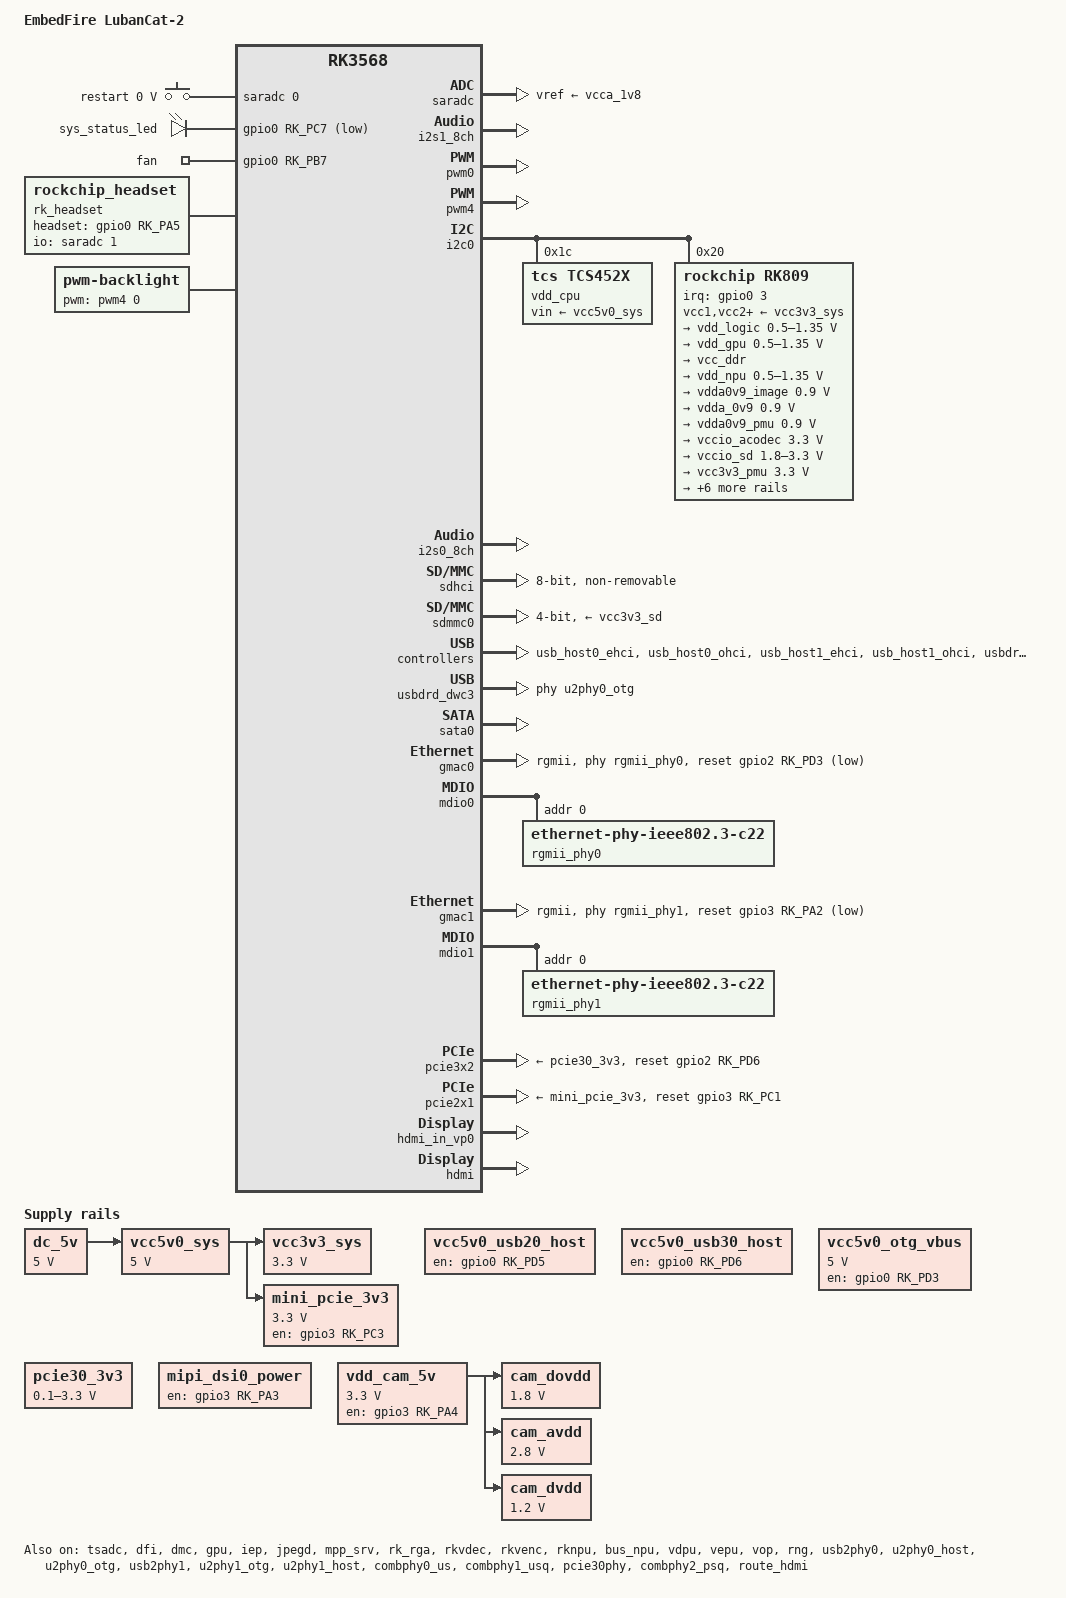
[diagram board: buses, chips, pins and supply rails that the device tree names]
// SPDX-License-Identifier: (GPL-2.0+ OR MIT)
/*
 * Copyright (c) 2020 Rockchip Electronics Co., Ltd.
 *
 */

 /dts-v1/;

#include <dt-bindings/gpio/gpio.h>
#include <dt-bindings/pwm/pwm.h>
#include <dt-bindings/pinctrl/rockchip.h>
#include <dt-bindings/input/rk-input.h>
#include <dt-bindings/display/drm_mipi_dsi.h>
#include <dt-bindings/display/rockchip_vop.h>
#include <dt-bindings/sensor-dev.h>
#include "rk3568.dtsi"

// MIPI屏幕设置，通用镜像使用设备树插件
//专用镜像如果要开启MIPI屏幕支持，按屏幕型号开启1-3
//以下3个配置互斥，不可同时开启
// #include "rk3568-lubancat-dsi0-ebf410125_720p.dtsi" //野火5.5寸 720P
// #include "rk3568-lubancat-dsi0-ebf410125_1080p.dtsi" //野火5.5寸 1080P
// #include "rk3568-lubancat-dsi0-rpi.dtsi" //树莓派 5寸 800x480


/ {
	model = "EmbedFire LubanCat-2";
	compatible = "embedfire,lubancat-2", "rockchip,rk3568";

	chosen: chosen {
		bootargs = "earlycon=uart8250,mmio32,0xfe660000 console=ttyFIQ0 root=PARTUUID=614e0000-0000 rw rootwait";
	};

	fiq-debugger {
		compatible = "rockchip,fiq-debugger";
		rockchip,serial-id = <2>;
		rockchip,wake-irq = <0>;
		/* If enable uart uses irq instead of fiq */
		rockchip,irq-mode-enable = <1>;
		rockchip,baudrate = <1500000>;  /* Only 115200 and 1500000 */
		interrupts = <GIC_SPI 252 IRQ_TYPE_LEVEL_LOW>;
		pinctrl-names = "default";
		pinctrl-0 = <&uart2m0_xfer>;
		status = "okay";
	};

	debug: debug@fd904000 {
		compatible = "rockchip,debug";
		reg = <0x0 0xfd904000 0x0 0x1000>,
			<0x0 0xfd905000 0x0 0x1000>,
			<0x0 0xfd906000 0x0 0x1000>,
			<0x0 0xfd907000 0x0 0x1000>;
	};

	cspmu: cspmu@fd90c000 {
		compatible = "rockchip,cspmu";
		reg = <0x0 0xfd90c000 0x0 0x1000>,
			<0x0 0xfd90d000 0x0 0x1000>,
			<0x0 0xfd90e000 0x0 0x1000>,
			<0x0 0xfd90f000 0x0 0x1000>;
	};

	reserved-memory {
		#address-cells = <2>;
		#size-cells = <2>;
		ranges;
		ramoops: ramoops@110000 {
			compatible = "ramoops";
			reg = <0x0 0x110000 0x0 0xf0000>;
			record-size = <0x20000>;
			console-size = <0x80000>;
			ftrace-size = <0x00000>;
			pmsg-size = <0x50000>;
		};

		abc: abc@80900000{
			reg = <0x0 0x80900000 0x0 0x100000>;
		};
	};

	adc_keys: adc-keys {
		compatible = "adc-keys";
		io-channels = <&saradc 0>;
		io-channel-names = "buttons";
		keyup-threshold-microvolt = <1800000>;
		poll-interval = <100>;

		restart-key {
			label = "restart";
			linux,code = <KEY_RESTART>;
			press-threshold-microvolt = <9>;
		};
	};

	dc_5v: dc-5v {
		compatible = "regulator-fixed";
		regulator-name = "dc_5v";
		regulator-always-on;
		regulator-boot-on;
		regulator-min-microvolt = <5000000>;
		regulator-max-microvolt = <5000000>;
	};

	vcc5v0_sys: vcc5v0-sys {
		compatible = "regulator-fixed";
		regulator-name = "vcc5v0_sys";
		regulator-always-on;
		regulator-boot-on;
		regulator-min-microvolt = <5000000>;
		regulator-max-microvolt = <5000000>;
		vin-supply = <&dc_5v>;
	};

	vcc3v3_sys: vcc3v3-sys {
		compatible = "regulator-fixed";
		regulator-name = "vcc3v3_sys";
		regulator-always-on;
		regulator-boot-on;
		regulator-min-microvolt = <3300000>;
		regulator-max-microvolt = <3300000>;
		vin-supply = <&vcc5v0_sys>;
	};

	vcc5v0_usb20_host: vcc5v0-usb20-host-regulator {
		compatible = "regulator-fixed";
		enable-active-high;
		gpio = <&gpio0 RK_PD5 GPIO_ACTIVE_HIGH>;
		pinctrl-names = "default";
		pinctrl-0 = <&vcc5v0_usb20_host_en>;
		regulator-name = "vcc5v0_usb20_host";
		regulator-always-on;
	};

	vcc5v0_usb30_host: vcc5v0-usb30-host-regulator {
		compatible = "regulator-fixed";
		enable-active-high;
		gpio = <&gpio0 RK_PD6 GPIO_ACTIVE_HIGH>;
		pinctrl-names = "default";
		pinctrl-0 = <&vcc5v0_usb30_host_en>;
		regulator-name = "vcc5v0_usb30_host";
		regulator-always-on;
	};

	vcc5v0_otg_vbus: vcc5v0-otg-vbus-regulator {
		compatible = "regulator-fixed";
		enable-active-high;
		regulator-min-microvolt = <5000000>;
		regulator-max-microvolt = <5000000>;
		gpio = <&gpio0 RK_PD3 GPIO_ACTIVE_HIGH>;
		pinctrl-names = "default";
		pinctrl-0 = <&vcc5v0_otg_vbus_en>;
		regulator-name = "vcc5v0_otg_vbus";
	};

	mini_pcie_3v3: mini-pcie-3v3-regulator {
		compatible = "regulator-fixed";
		regulator-name = "minipcie_3v3";
		regulator-min-microvolt = <3300000>;
		regulator-max-microvolt = <3300000>;
		enable-active-high;
		regulator-always-on;
		gpio = <&gpio3 RK_PC3 GPIO_ACTIVE_HIGH>;
		startup-delay-us = <5000>;
		vin-supply = <&vcc5v0_sys>;
	};

	pcie30_3v3: gpio-regulator {
		compatible = "regulator-gpio";
		regulator-name = "pcie30_3v3";
		regulator-min-microvolt = <100000>;
		regulator-max-microvolt = <3300000>;
		gpios = <&gpio0 RK_PD4 GPIO_ACTIVE_HIGH>;
		gpios-states = <0x1>;
		states = <100000 0x0
			  3300000 0x1>;
	};

	mipi_dsi0_power: mipi-dsi0-power-regulator {
		compatible = "regulator-fixed";
		enable-active-high;
		gpio = <&gpio3 RK_PA3 GPIO_ACTIVE_HIGH>;
		pinctrl-names = "default";
		pinctrl-0 = <&mipi_dsi0_pwr_en>;
		regulator-name = "mipi_dsi0_power";
		regulator-always-on;
	};

	vdd_cam_5v: vdd-cam-5v-regulator {
		compatible = "regulator-fixed";
		regulator-name = "vdd_cam_5v";
		regulator-min-microvolt = <3300000>;
		regulator-max-microvolt = <3300000>;
		gpio = <&gpio3 RK_PA4 GPIO_ACTIVE_HIGH>;
		pinctrl-names = "default";
		pinctrl-0 = <&cam_pwr_en>;
		enable-active-high;
		regulator-always-on;
	};

	cam_dovdd: cam-dovdd {
		compatible = "regulator-fixed";
		regulator-name = "cam_dovdd";
		regulator-always-on;
		regulator-boot-on;
		regulator-min-microvolt = <1800000>;
		regulator-max-microvolt = <1800000>;
		vin-supply = <&vdd_cam_5v>;
	};

	cam_avdd: cam-avdd {
		compatible = "regulator-fixed";
		regulator-name = "cam_avdd";
		regulator-always-on;
		regulator-boot-on;
		regulator-min-microvolt = <2800000>;
		regulator-max-microvolt = <2800000>;
		vin-supply = <&vdd_cam_5v>;
	};

	cam_dvdd: cam-dvdd {
		compatible = "regulator-fixed";
		regulator-name = "cam_dvdd";
		regulator-always-on;
		regulator-boot-on;
		regulator-min-microvolt = <1200000>;
		regulator-max-microvolt = <1200000>;
		vin-supply = <&vdd_cam_5v>;
	};

	leds: leds {
		status = "okay";
		compatible = "gpio-leds";

		sys_status_led: sys-status-led {
			label = "sys_status_led";
			linux,default-trigger = "heartbeat";
			default-state = "on";
			gpios = <&gpio0 RK_PC7 GPIO_ACTIVE_LOW>;
			pinctrl-names = "default";
			pinctrl-0 = <&sys_status_led_pin>;
		};

		fan: fan {
			label = "fan";
			default-state = "on";
			linux,default-trigger = "none";
			gpios = <&gpio0 RK_PB7 GPIO_ACTIVE_HIGH>;
			pinctrl-names = "default";
			pinctrl-0 = <&fan_pin>;
		};
		
	};

	rk809_sound: rk809-sound {
		status = "okay";
		compatible = "simple-audio-card";
		simple-audio-card,format = "i2s";
		simple-audio-card,name = "rockchip,rk809-codec";
		simple-audio-card,mclk-fs = <256>;
		simple-audio-card,widgets =
			"Microphone", "Mic Jack",
			"Headphone", "Headphone Jack";
		simple-audio-card,routing =
			"Mic Jack", "MICBIAS1",
			"IN1P", "Mic Jack",
			"Headphone Jack", "HPOL",
			"Headphone Jack", "HPOR";
		simple-audio-card,cpu {
			sound-dai = <&i2s1_8ch>;
		};
		simple-audio-card,codec {
			sound-dai = <&rk809_codec>;
		};
	};

	rk_headset: rk-headset {
		status = "okay";
		compatible = "rockchip_headset";
		headset_gpio = <&gpio0 RK_PA5 GPIO_ACTIVE_HIGH>;
		pinctrl-names = "default";
		pinctrl-0 = <&hp_det>;
		io-channels = <&saradc 1>;
	};

	backlight: backlight {
		status = "okay";
		compatible = "pwm-backlight";
		pwms = <&pwm4 0 50000 0>;
		brightness-levels = <
			 95  95  95  95  95  95  95  95
			 95  95  95  95  95  95  95  95
			 95  95  95  95  95  95  95  95
			 95  95  95  95  95  95  95  95
			 95  95  95  95  95  95  95  95
			 95  95  95  95  95  95  95  95
			 95  95  95  95  95  95  95  95
			 95  95  95  95  95  95  95  95
			 95  95  95  95  95  95  95  95
			 95  95  95  95  95  95  95  95
			 95  95  95  95  95  95  95  95
			 88  89  90  91  92  93  94  95
			 96  97  98  99 100 101 102 103
			104 105 106 107 108 109 110 111
			112 113 114 115 116 117 118 119
			120 121 122 123 124 125 126 127
			128 129 130 131 132 133 134 135
			136 137 138 139 140 141 142 143
			144 145 146 147 148 149 150 151
			152 153 154 155 156 157 158 159
			160 161 162 163 164 165 166 167
			168 169 170 171 172 173 174 175
			176 177 178 179 180 181 182 183
			184 185 186 187 188 189 190 191
			192 193 194 195 196 197 198 199
			200 201 202 203 204 205 206 207
			208 209 210 211 212 213 214 215
			216 217 218 219 220 221 222 223
			224 225 226 227 228 229 230 231
			232 233 234 235 236 237 238 239
			240 241 242 243 244 245 246 247
			248 249 250 251 252 253 254 255
		>;
		default-brightness-level = <200>;
	};

	test-power {
		status = "okay";
	};

	hdmi_sound: hdmi-sound {
		compatible = "simple-audio-card";
		simple-audio-card,format = "i2s";
		simple-audio-card,mclk-fs = <128>;
		simple-audio-card,name = "rockchip,hdmi";
		status = "okay";

		simple-audio-card,cpu {
			sound-dai = <&i2s0_8ch>;
		};
		simple-audio-card,codec {
			sound-dai = <&hdmi>;
		};
	};
};

&saradc {
	vref-supply = <&vcca_1v8>;
	status = "okay";
};

&tsadc {
	status = "okay";
};

&i2s1_8ch {
	status = "okay";
	rockchip,clk-trcm = <1>;
	/delete-property/ rockchip,playback-only;
	pinctrl-names = "default";
	pinctrl-0 = <&i2s1m0_sclktx
			 &i2s1m0_lrcktx
			 &i2s1m0_sdi0
			 &i2s1m0_sdo0>;
};

&pwm0 {
	status = "okay";
};

&pwm4 {
	status = "okay";
};

&cpu0 {
	cpu-supply = <&vdd_cpu>;
};

&dfi {
	status = "okay";
};

&dmc {
	center-supply = <&vdd_logic>;
	status = "okay";
};

&gpu {
	mali-supply = <&vdd_gpu>;
	status = "okay";
};

&xin32k {
	status = "disabled";
};

&i2c0 {
	status = "okay";

	vdd_cpu: tcs4525@1c {
		compatible = "tcs,tcs452x";
		reg = <0x1c>;
		vin-supply = <&vcc5v0_sys>;
		regulator-compatible = "fan53555-reg";
		regulator-name = "vdd_cpu";
		regulator-min-microvolt = <712500>;
		regulator-max-microvolt = <1390000>;
		regulator-ramp-delay = <2300>;
		fcs,suspend-voltage-selector = <1>;
		regulator-boot-on;
		regulator-always-on;
		regulator-state-mem {
			regulator-off-in-suspend;
		};
	};
/*
	vdd_cpu: syr827@40 {
		compatible = "silergy,syr827";
		reg = <0x40>;
		fcs,suspend-voltage-selector = <1>;
		regulator-name = "vdd_cpu";
		regulator-min-microvolt = <712500>;
		regulator-max-microvolt = <1390000>;
		regulator-ramp-delay = <2300>;
		regulator-always-on;
		regulator-boot-on;
		vin-supply = <&vcc5v0_sys>;

		regulator-state-mem {
			regulator-off-in-suspend;
		};
	};
*/
	rk809: pmic@20 {
		compatible = "rockchip,rk809";
		reg = <0x20>;
		interrupt-parent = <&gpio0>;
		interrupts = <3 IRQ_TYPE_LEVEL_LOW>;

		pinctrl-names = "default", "pmic-sleep",
				"pmic-power-off", "pmic-reset";
		pinctrl-0 = <&pmic_int>;
		pinctrl-1 = <&soc_slppin_slp>, <&rk817_slppin_slp>;
		pinctrl-2 = <&soc_slppin_gpio>, <&rk817_slppin_pwrdn>;
		pinctrl-3 = <&soc_slppin_gpio>, <&rk817_slppin_rst>;

		rockchip,system-power-controller;
		wakeup-source;
		#clock-cells = <1>;
		clock-output-names = "rk808-clkout1", "rk808-clkout2";
		//fb-inner-reg-idxs = <2>;
		/* 1: rst regs (default in codes), 0: rst the pmic */
		pmic-reset-func = <0>;
		/* not save the PMIC_POWER_EN register in uboot */
		not-save-power-en = <1>;

		vcc1-supply = <&vcc3v3_sys>;
		vcc2-supply = <&vcc3v3_sys>;
		vcc3-supply = <&vcc3v3_sys>;
		vcc4-supply = <&vcc3v3_sys>;
		vcc5-supply = <&vcc3v3_sys>;
		vcc6-supply = <&vcc3v3_sys>;
		vcc7-supply = <&vcc3v3_sys>;
		vcc8-supply = <&vcc3v3_sys>;
		vcc9-supply = <&vcc3v3_sys>;

		pwrkey {
			status = "okay";
		};

		pinctrl_rk8xx: pinctrl_rk8xx {
			gpio-controller;
			#gpio-cells = <2>;

			rk817_slppin_null: rk817_slppin_null {
				pins = "gpio_slp";
				function = "pin_fun0";
			};

			rk817_slppin_slp: rk817_slppin_slp {
				pins = "gpio_slp";
				function = "pin_fun1";
			};

			rk817_slppin_pwrdn: rk817_slppin_pwrdn {
				pins = "gpio_slp";
				function = "pin_fun2";
			};

			rk817_slppin_rst: rk817_slppin_rst {
				pins = "gpio_slp";
				function = "pin_fun3";
			};
		};

		regulators {
			vdd_logic: DCDC_REG1 {
				regulator-always-on;
				regulator-boot-on;
				regulator-min-microvolt = <500000>;
				regulator-max-microvolt = <1350000>;
				regulator-init-microvolt = <900000>;
				regulator-ramp-delay = <6001>;
				regulator-initial-mode = <0x2>;
				regulator-name = "vdd_logic";
				regulator-state-mem {
					regulator-on-in-suspend;
				};
			};

			vdd_gpu: DCDC_REG2 {
				regulator-always-on;
				regulator-boot-on;
				regulator-min-microvolt = <500000>;
				regulator-max-microvolt = <1350000>;
				regulator-init-microvolt = <900000>;
				regulator-ramp-delay = <6001>;
				regulator-initial-mode = <0x2>;
				regulator-name = "vdd_gpu";
				regulator-state-mem {
					regulator-off-in-suspend;
				};
			};

			vcc_ddr: DCDC_REG3 {
				regulator-always-on;
				regulator-boot-on;
				regulator-initial-mode = <0x2>;
				regulator-name = "vcc_ddr";
				regulator-state-mem {
					regulator-on-in-suspend;
				};
			};

			vdd_npu: DCDC_REG4 {
				regulator-always-on;
				regulator-boot-on;
				regulator-min-microvolt = <500000>;
				regulator-max-microvolt = <1350000>;
				regulator-init-microvolt = <900000>;
				regulator-ramp-delay = <6001>;
				regulator-initial-mode = <0x2>;
				regulator-name = "vdd_npu";
				regulator-state-mem {
					regulator-off-in-suspend;
				};
			};

			vdda0v9_image: LDO_REG1 {
				regulator-boot-on;
				regulator-always-on;
				regulator-min-microvolt = <900000>;
				regulator-max-microvolt = <900000>;
				regulator-name = "vdda0v9_image";
				regulator-state-mem {
					regulator-off-in-suspend;
				};
			};

			vdda_0v9: LDO_REG2 {
				regulator-always-on;
				regulator-boot-on;
				regulator-min-microvolt = <900000>;
				regulator-max-microvolt = <900000>;
				regulator-name = "vdda_0v9";
				regulator-state-mem {
					regulator-off-in-suspend;
				};
			};

			vdda0v9_pmu: LDO_REG3 {
				regulator-always-on;
				regulator-boot-on;
				regulator-min-microvolt = <900000>;
				regulator-max-microvolt = <900000>;
				regulator-name = "vdda0v9_pmu";
				regulator-state-mem {
					regulator-on-in-suspend;
					regulator-suspend-microvolt = <900000>;
				};
			};

			vccio_acodec: LDO_REG4 {
				regulator-always-on;
				regulator-boot-on;
				regulator-min-microvolt = <3300000>;
				regulator-max-microvolt = <3300000>;
				regulator-name = "vccio_acodec";
				regulator-state-mem {
					regulator-off-in-suspend;
				};
			};

			vccio_sd: LDO_REG5 {
				regulator-always-on;
				regulator-boot-on;
				regulator-min-microvolt = <1800000>;
				regulator-max-microvolt = <3300000>;
				regulator-name = "vccio_sd";
				regulator-state-mem {
					regulator-off-in-suspend;
				};
			};

			vcc3v3_pmu: LDO_REG6 {
				regulator-always-on;
				regulator-boot-on;
				regulator-min-microvolt = <3300000>;
				regulator-max-microvolt = <3300000>;
				regulator-name = "vcc3v3_pmu";
				regulator-state-mem {
					regulator-on-in-suspend;
					regulator-suspend-microvolt = <3300000>;
				};
			};

			vcca_1v8: LDO_REG7 {
				regulator-always-on;
				regulator-boot-on;
				regulator-min-microvolt = <1800000>;
				regulator-max-microvolt = <1800000>;
				regulator-name = "vcca_1v8";
				regulator-state-mem {
					regulator-off-in-suspend;
				};
			};

			vcca1v8_pmu: LDO_REG8 {
				regulator-always-on;
				regulator-boot-on;
				regulator-min-microvolt = <1800000>;
				regulator-max-microvolt = <1800000>;
				regulator-name = "vcca1v8_pmu";
				regulator-state-mem {
					regulator-on-in-suspend;
					regulator-suspend-microvolt = <1800000>;
				};
			};

			vcca1v8_image: LDO_REG9 {
				regulator-always-on;
				regulator-boot-on;
				regulator-min-microvolt = <1800000>;
				regulator-max-microvolt = <1800000>;
				regulator-name = "vcca1v8_image";
				regulator-state-mem {
					regulator-off-in-suspend;
				};
			};

			vcc_1v8: DCDC_REG5 {
				regulator-always-on;
				regulator-boot-on;
				regulator-min-microvolt = <1800000>;
				regulator-max-microvolt = <1800000>;
				regulator-name = "vcc_1v8";
				regulator-state-mem {
					regulator-off-in-suspend;
				};
			};

			vcc_3v3: SWITCH_REG1 {
				regulator-always-on;
				regulator-boot-on;
				regulator-name = "vcc_3v3";
				regulator-state-mem {
					regulator-off-in-suspend;
				};
			};

			vcc3v3_sd: SWITCH_REG2 {
				regulator-always-on;
				regulator-boot-on;
				regulator-name = "vcc3v3_sd";
				regulator-state-mem {
					regulator-off-in-suspend;
				};
			};
		};

		rk809_codec: codec {
			#sound-dai-cells = <0>;
			compatible = "rockchip,rk809-codec", "rockchip,rk817-codec";
			clocks = <&cru I2S1_MCLKOUT_TX>;
			clock-names = "mclk";
			assigned-clocks = <&cru I2S1_MCLKOUT_TX>, <&cru I2S1_MCLK_TX_IOE>;
			assigned-clock-rates = <12288000>;
			assigned-clock-parents = <&cru CLK_I2S1_8CH_TX>, <&cru I2S1_MCLKOUT_TX>;
			pinctrl-names = "default";
			pinctrl-0 = <&i2s1m0_mclk>;
			hp-volume = <20>;
			spk-volume = <3>;
			//mic-in-differential;
			status = "okay";
		};
	};

};

&can1 {
	status = "disabled";
	compatible = "rockchip,rk3568-can-2.0";
	assigned-clocks = <&cru CLK_CAN1>;
    assigned-clock-rates = <200000000>;
	pinctrl-names = "default";
    pinctrl-0 = <&can1m1_pins>;
};

&can2 {
	status = "disabled";
	compatible = "rockchip,rk3568-can-2.0";
	pinctrl-names = "default";
	assigned-clocks = <&cru CLK_CAN2>;
    assigned-clock-rates = <200000000>;
	pinctrl-0 = <&can2m0_pins>;
};

&i2s0_8ch {
    status = "okay";
};

&iep {
	status = "okay";
};

&iep_mmu {
	status = "okay";
};

&jpegd {
	status = "okay";
};

&jpegd_mmu {
	status = "okay";
};

&mpp_srv {
	status = "okay";
};

&pmu_io_domains {
	status = "okay";
	pmuio2-supply = <&vcc3v3_pmu>;
	vccio1-supply = <&vccio_acodec>;
	vccio3-supply = <&vccio_sd>;
	vccio4-supply = <&vcc_1v8>;
	vccio5-supply = <&vcc_3v3>;
	vccio6-supply = <&vcc_1v8>;
	vccio7-supply = <&vcc_3v3>;
};

&rk_rga {
	status = "okay";
};

&rkvdec {
	status = "okay";
};

&rkvdec_mmu {
	status = "okay";
};

&rkvenc {
	venc-supply = <&vdd_logic>;
	status = "okay";
};

&rkvenc_mmu {
	status = "okay";
};

&rknpu {
	rknpu-supply = <&vdd_npu>;
	status = "okay";
};

&rknpu_mmu {
	status = "okay";
};

&bus_npu {
	bus-supply = <&vdd_logic>;
	pvtm-supply = <&vdd_cpu>;
	status = "okay";
};

&sdhci {
	bus-width = <8>;
	supports-emmc;
	non-removable;
	max-frequency = <200000000>;
	status = "okay";
};

&sdmmc0 {
	max-frequency = <150000000>;
	supports-sd;
	bus-width = <4>;
	cap-mmc-highspeed;
	cap-sd-highspeed;
	disable-wp;
	sd-uhs-sdr104;
	vmmc-supply = <&vcc3v3_sd>;
	vqmmc-supply = <&vccio_sd>;
	pinctrl-names = "default";
	pinctrl-0 = <&sdmmc0_bus4 &sdmmc0_clk &sdmmc0_cmd &sdmmc0_det>;
	status = "okay";
};

&vdpu {
	status = "okay";
};

&vdpu_mmu {
	status = "okay";
};

&vepu {
	status = "okay";
};

&vepu_mmu {
	status = "okay";
};

&vop {
	status = "okay";
	assigned-clocks = <&cru DCLK_VOP0>, <&cru DCLK_VOP1>;
	assigned-clock-parents = <&pmucru PLL_HPLL>, <&cru PLL_VPLL>;
};

&vop_mmu {
	status = "okay";
};

&vp0 {
	rockchip,plane-mask = <(1 << ROCKCHIP_VOP2_CLUSTER0 | 1 << ROCKCHIP_VOP2_ESMART0 | 1 << ROCKCHIP_VOP2_SMART0)>;
	rockchip,primary-plane = <ROCKCHIP_VOP2_SMART0>;
	// cursor-win-id = <ROCKCHIP_VOP2_CLUSTER0>;
};

&vp1 {
	rockchip,plane-mask = <(1 << ROCKCHIP_VOP2_CLUSTER1 | 1 << ROCKCHIP_VOP2_ESMART1 | 1 << ROCKCHIP_VOP2_SMART1)>;
	rockchip,primary-plane = <ROCKCHIP_VOP2_SMART1>;
	// cursor-win-id = <ROCKCHIP_VOP2_CLUSTER1>;
};

&rng {
	status = "okay";
};

/* USB OTG/USB Host_1 USB 2.0 Comb */
&usb2phy0 {
	status = "okay";
};

&u2phy0_host {
	phy-supply = <&vcc5v0_usb30_host>;
	status = "okay";
};

&u2phy0_otg {
	vbus-supply = <&vcc5v0_otg_vbus>;
	status = "okay";
};

&usb_host0_ehci {
	status = "okay";
};

&usb_host0_ohci {
	status = "okay";
};

/* USB Host_2/USB Host_3 USB 2.0 Comb */
&usb2phy1 {
	status = "okay";
};

&u2phy1_otg {
	phy-supply = <&vcc5v0_usb20_host>;
	status = "okay";
};

&u2phy1_host {
	status = "okay";
};

&usb_host1_ehci {
	status = "okay";
};

&usb_host1_ohci {
	status = "okay";
};

/* MULTI_PHY0 For SATA0, USB3.0 OTG Only USB2.0 */
&combphy0_us {
	status = "okay";
};

&usbdrd30 {
	status = "okay";
};

&usbdrd_dwc3 {
	phys = <&u2phy0_otg>;
	phy-names = "usb2-phy";
	extcon = <&usb2phy0>;
	maximum-speed = "high-speed";
	snps,dis_u2_susphy_quirk;
	status = "okay";	
};

&sata0 {
	status = "okay";
};

/* USB3.0 Host */
&combphy1_usq {
	status = "okay";
};

&usbhost30 {
	status = "okay";
};

&usbhost_dwc3 {
	status = "okay";
};

&gmac0 {
	phy-mode = "rgmii";
	clock_in_out = "output";

	snps,reset-gpio = <&gpio2 RK_PD3 GPIO_ACTIVE_LOW>;
	snps,reset-active-low;
	/* Reset time is 75ms, 100ms */
	snps,reset-delays-us = <0 75000 100000>;

	assigned-clocks = <&cru SCLK_GMAC0_RX_TX>, <&cru SCLK_GMAC0>;
	assigned-clock-parents = <&cru SCLK_GMAC0_RGMII_SPEED>, <&cru CLK_MAC0_2TOP>;
	assigned-clock-rates = <0>, <125000000>;

	pinctrl-names = "default";
	pinctrl-0 = <&gmac0_miim
			 &gmac0_tx_bus2
			 &gmac0_rx_bus2
			 &gmac0_rgmii_clk
			 &gmac0_rgmii_bus>;

	tx_delay = <0x22>;
	rx_delay = <0x0e>;

	phy-handle = <&rgmii_phy0>;
	status = "okay";
};

&mdio0 {
	rgmii_phy0: phy@0 {
		compatible = "ethernet-phy-ieee802.3-c22";
		reg = <0x0>;
	};
};

&gmac1 {
	phy-mode = "rgmii";
	clock_in_out = "output";

	snps,reset-gpio = <&gpio3 RK_PA2 GPIO_ACTIVE_LOW>;
	snps,reset-active-low;
	/* Reset time is 75ms, 100ms */
	snps,reset-delays-us = <0 75000 100000>;

	assigned-clocks = <&cru SCLK_GMAC1_RX_TX>, <&cru SCLK_GMAC1>;
	assigned-clock-parents = <&cru SCLK_GMAC1_RGMII_SPEED>, <&cru CLK_MAC1_2TOP>;
	assigned-clock-rates = <0>, <125000000>;

	pinctrl-names = "default";
	pinctrl-0 = <&gmac1m1_miim
			 &gmac1m1_tx_bus2
			 &gmac1m1_rx_bus2
			 &gmac1m1_rgmii_clk
			 &gmac1m1_rgmii_bus>;

	/* RTL8211F */	
	// tx_delay = <0x1c>;
	// rx_delay = <0x0c>;

	/* JL2101 */
	tx_delay = <0x22>;
	rx_delay = <0x07>;

	phy-handle = <&rgmii_phy1>;
	status = "okay";
};

&mdio1 {
	rgmii_phy1: phy@0 {
		compatible = "ethernet-phy-ieee802.3-c22";
		reg = <0x0>;
	};
};

&pcie30phy {
	status = "okay";
};

&pcie3x2 {
	reset-gpios = <&gpio2 RK_PD6 GPIO_ACTIVE_HIGH>;
	vpcie3v3-supply = <&pcie30_3v3>;
	status = "okay";
};

/* mini pcie */
&pcie2x1 {
	reset-gpios = <&gpio3 RK_PC1 GPIO_ACTIVE_HIGH>;
	disable-gpios = <&gpio3 RK_PC2 GPIO_ACTIVE_HIGH>;
	vpcie3v3-supply = <&mini_pcie_3v3>;
	status = "okay";
};

&combphy2_psq {
	status = "okay";
};

&route_hdmi {
	status = "okay";
	connect = <&vp0_out_hdmi>;
};

&hdmi_in_vp0 {
	status = "okay";
};

&hdmi_in_vp1 {
	status = "disabled";
};

&hdmi {
	status = "okay";
};

&pinctrl {
	pmic {
		pmic_int: pmic_int {
			rockchip,pins =
				<0 RK_PA3 RK_FUNC_GPIO &pcfg_pull_up>;
		};

		soc_slppin_gpio: soc_slppin_gpio {
			rockchip,pins =
				<0 RK_PA2 RK_FUNC_GPIO &pcfg_output_low_pull_down>;
		};

		soc_slppin_slp: soc_slppin_slp {
			rockchip,pins =
				<0 RK_PA2 RK_FUNC_1 &pcfg_pull_up>;
		};

		soc_slppin_rst: soc_slppin_rst {
			rockchip,pins =
				<0 RK_PA2 RK_FUNC_2 &pcfg_pull_none>;
		};

		spk_ctl_gpio: spk_ctl_gpio {
			rockchip,pins = <3 RK_PC5 RK_FUNC_GPIO &pcfg_pull_up>;
		};
	};

	headphone {
		hp_det: hp-det {
			rockchip,pins = <0 RK_PA5 RK_FUNC_GPIO &pcfg_pull_none>;
		};
	};

	usb {
		vcc5v0_usb20_host_en: vcc5v0-usb20-host-en {
			rockchip,pins = <0 RK_PD5 RK_FUNC_GPIO &pcfg_pull_none>;
		};

		vcc5v0_usb30_host_en: vcc5v0-usb30-host-en {
			rockchip,pins = <0 RK_PD6 RK_FUNC_GPIO &pcfg_pull_none>;
		};

		vcc5v0_otg_vbus_en: vcc5v0-otg-vbus-en {
			rockchip,pins = <0 RK_PD3 RK_FUNC_GPIO &pcfg_pull_none>;
		};
	};

	spi {
		spi3_cs0: spi3-cs0 {
			rockchip,pins = <4 RK_PC6 RK_FUNC_GPIO &pcfg_pull_up_drv_level_1>;
		};

		spi3_cs1: spi3-cs1 {
			rockchip,pins = <4 RK_PC4 RK_FUNC_GPIO &pcfg_pull_up_drv_level_1>;
		};
	};

	lcd {
		mipi_dsi0_pwr_en: mipi-dsi0-pwr-en {
			rockchip,pins = <3 RK_PA3 RK_FUNC_GPIO &pcfg_pull_none>;
		};
	};

	cam {
		cam_pwr_en: cam-pwr-en {
			rockchip,pins = <3 RK_PA4 RK_FUNC_GPIO &pcfg_pull_none>;
		};
	};

	leds {
		sys_status_led_pin: sys-status-led-pin {
			rockchip,pins = <0 RK_PC7 RK_FUNC_GPIO &pcfg_pull_none>;
		};

		fan_pin: fan-pin {
			rockchip,pins = <0 RK_PB7 RK_FUNC_GPIO &pcfg_pull_none>;
		};
	};
};
